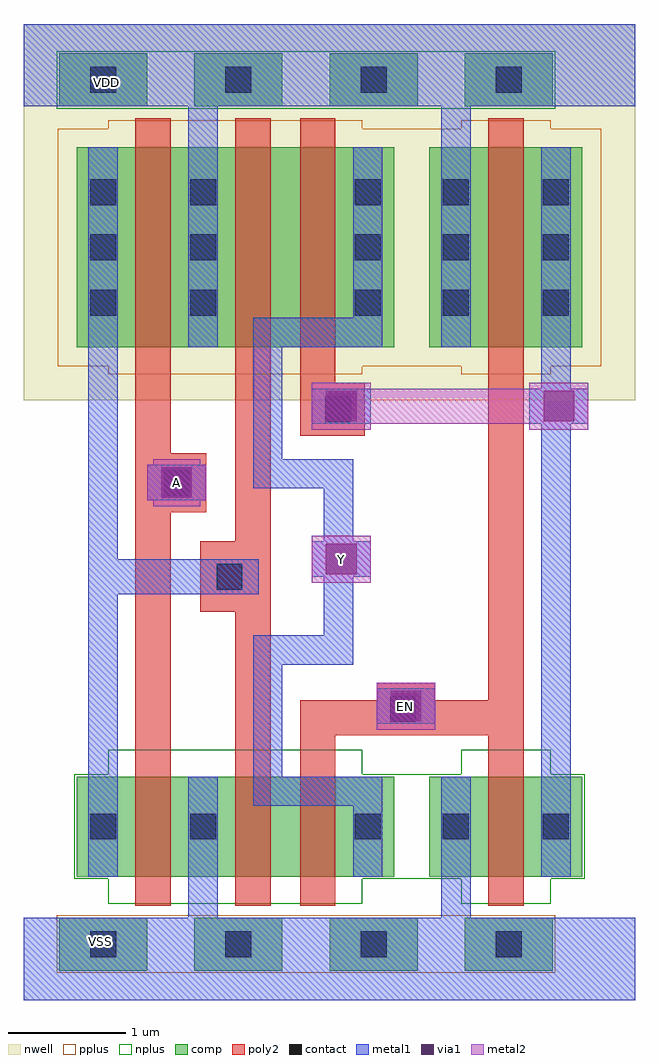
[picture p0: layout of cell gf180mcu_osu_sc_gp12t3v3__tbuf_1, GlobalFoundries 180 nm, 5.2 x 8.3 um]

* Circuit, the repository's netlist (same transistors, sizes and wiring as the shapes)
* Copyright 2022 Google LLC
*
* Licensed under the Apache License, Version 2.0 (the "License");
* you may not use this file except in compliance with the License.
* You may obtain a copy of the License at
*
*      http://www.apache.org/licenses/LICENSE-2.0
*
* Unless required by applicable law or agreed to in writing, software
* distributed under the License is distributed on an "AS IS" BASIS,
* WITHOUT WARRANTIES OR CONDITIONS OF ANY KIND, either express or implied.
* See the License for the specific language governing permissions and
* limitations under the License.

* NGSPICE file created from gf180mcu_osu_sc_gp12t3v3__tbuf_1.ext - technology: gf180mcuC

.subckt gf180mcu_osu_sc_gp12t3v3__tbuf_1 A Y EN VDD VSS
X0 Y EN a_42_21# VSS nfet_03p3 w=0.85u l=0.3u
X1 Y a_47_96# a_42_111# VDD pfet_03p3 w=1.7u l=0.3u
X2 a_42_111# a_9_21# VDD VDD pfet_03p3 w=1.7u l=0.3u
X3 VDD A a_9_21# VDD pfet_03p3 w=1.7u l=0.3u
X4 VSS A a_9_21# VSS nfet_03p3 w=0.85u l=0.3u
X5 a_47_96# EN VSS VSS nfet_03p3 w=0.85u l=0.3u
X6 a_47_96# EN VDD VDD pfet_03p3 w=1.7u l=0.3u
X7 a_42_21# a_9_21# VSS VSS nfet_03p3 w=0.85u l=0.3u
.ends

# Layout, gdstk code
import gdstk
lib = gdstk.Library(unit=1e-6, precision=1e-09)
def R(c, l, rs):  # rectangles x0, y0, x1, y1
    for r in rs: c.add(gdstk.rectangle(r[:2], r[2:], *l))
def A(c, l, x, y, w, h, nx, ny, dx, dy):  # array of equal rectangles
    R(c, l, [(x+i*dx, y+j*dy, x+i*dx+w, y+j*dy+h) for i in range(nx) for j in range(ny)])
nwell = (21, 0)
comp = (22, 0)
poly2 = (30, 0)
pplus = (31, 0)
nplus = (32, 0)
contact = (33, 0)
metal1 = (34, 0)
via1 = (35, 0)
metal2 = (36, 0)

gf180mcu_osu_sc_gp12t3v3 = lib.new_cell('gf180mcu_osu_sc_gp12t3v3__tbuf_1')
R(gf180mcu_osu_sc_gp12t3v3, nwell, [(0,5.1,5.2,8.3)])
A(gf180mcu_osu_sc_gp12t3v3, comp, 0.3, 0.25, 0.75, 0.45, 4, 2, 1.15, 7.35)
R(gf180mcu_osu_sc_gp12t3v3, comp, [(0.45,1.05,3.15,1.9), (3.45,1.05,4.75,1.9), (0.45,5.55,3.15,7.25), (3.45,5.55,4.75,7.25)])
R(gf180mcu_osu_sc_gp12t3v3, poly2, [(0.95,0.8,1.25,4.15), (1.8,0.8,2.1,3.3), (2.35,0.8,2.65,2.25), (3.95,0.8,4.25,2.25), (2.35,2.25,4.25,2.55), (3,2.55,3.5,2.7), (3.95,2.55,4.25,7.5), (1.5,3.3,2.1,3.9), (1.8,3.9,2.1,7.5), (0.95,4.15,1.55,4.65), (0.95,4.65,1.25,7.5), (2.35,4.8,2.9,5.25), (2.35,5.25,2.65,7.5)])
R(gf180mcu_osu_sc_gp12t3v3, pplus, [(0.28,0.23,4.52,0.72), (0.72,5.32,2.88,5.39), (3.72,5.32,4.48,5.39), (0.29,5.39,4.91,7.41), (0.72,7.41,2.88,7.48), (3.72,7.41,4.48,7.48)])
R(gf180mcu_osu_sc_gp12t3v3, nplus, [(0.72,0.82,2.88,1.03), (3.72,0.82,4.48,1.03), (0.43,1.03,4.77,1.92), (0.72,1.92,2.88,2.13), (3.72,1.92,4.48,2.13), (0.28,7.58,4.52,8.07)])
A(gf180mcu_osu_sc_gp12t3v3, contact, 0.565, 0.365, 0.22, 0.22, 4, 2, 1.15, 7.35)
A(gf180mcu_osu_sc_gp12t3v3, contact, 0.565, 5.82, 0.22, 0.22, 1, 3, 0, 0.47)
A(gf180mcu_osu_sc_gp12t3v3, contact, 1.415, 5.82, 0.22, 0.22, 1, 3, 0, 0.47)
A(gf180mcu_osu_sc_gp12t3v3, contact, 2.815, 5.82, 0.22, 0.22, 1, 3, 0, 0.47)
A(gf180mcu_osu_sc_gp12t3v3, contact, 3.565, 5.82, 0.22, 0.22, 1, 3, 0, 0.47)
A(gf180mcu_osu_sc_gp12t3v3, contact, 4.415, 5.82, 0.22, 0.22, 1, 3, 0, 0.47)
R(gf180mcu_osu_sc_gp12t3v3, contact, [(0.565,1.365,0.785,1.585), (1.415,1.365,1.635,1.585), (2.815,1.365,3.035,1.585), (3.565,1.365,3.785,1.585), (4.415,1.365,4.635,1.585), (3.115,2.365,3.335,2.585), (1.64,3.49,1.86,3.71), (1.19,4.29,1.41,4.51), (2.565,4.915,2.785,5.135)])
R(gf180mcu_osu_sc_gp12t3v3, metal1, [(0,0,5.2,0.7), (1.4,0.7,1.65,1.9), (3.55,0.7,3.8,1.9), (0.55,1.05,0.8,3.45), (2.8,1.05,3.05,1.65), (4.4,1.05,4.65,4.9), (1.95,1.65,3.05,1.9), (1.95,1.9,2.2,2.85), (3,2.35,3.5,2.65), (1.95,2.85,2.8,3.1), (2.55,3.1,2.8,3.6), (0.55,3.45,2,3.75), (2.45,3.6,2.95,3.9), (0.55,3.75,0.8,7.25), (2.55,3.9,2.8,4.35), (1.05,4.25,1.55,4.55), (1.95,4.35,2.8,4.6), (1.95,4.6,2.2,5.55), (2.45,4.9,2.95,5.2), (4.3,4.9,4.8,5.2), (4.4,5.2,4.65,7.25), (1.4,5.55,1.65,7.6), (1.95,5.55,3.05,5.8), (3.55,5.55,3.8,7.6), (2.8,5.8,3.05,7.25), (0,7.6,5.2,8.3)])
R(gf180mcu_osu_sc_gp12t3v3, via1, [(3.12,2.37,3.38,2.63), (2.57,3.62,2.83,3.88), (1.17,4.27,1.43,4.53), (2.57,4.92,2.83,5.18), (4.42,4.92,4.68,5.18)])
R(gf180mcu_osu_sc_gp12t3v3, metal2, [(3,2.3,3.5,2.7), (2.45,3.55,2.95,3.95), (1.1,4.2,1.5,4.25), (1.05,4.25,1.55,4.55), (1.1,4.55,1.5,4.6), (2.45,4.85,2.95,4.9), (4.3,4.85,4.8,4.9), (2.45,4.9,4.8,5.2), (2.45,5.2,2.95,5.25), (4.3,5.2,4.8,5.25)])
gf180mcu_osu_sc_gp12t3v3.add(gdstk.Label('A', (1.3,4.4), layer=36, texttype=10))
gf180mcu_osu_sc_gp12t3v3.add(gdstk.Label('Y', (2.7,3.75), layer=36, texttype=10))
gf180mcu_osu_sc_gp12t3v3.add(gdstk.Label('EN', (3.25,2.5), layer=36, texttype=10))
gf180mcu_osu_sc_gp12t3v3.add(gdstk.Label('VDD', (0.7,7.8), layer=34, texttype=10))
gf180mcu_osu_sc_gp12t3v3.add(gdstk.Label('VSS', (0.65,0.5), layer=34, texttype=10))

lib.write_gds('gf180mcu_osu_sc_gp12t3v3__tbuf_1.gds')
